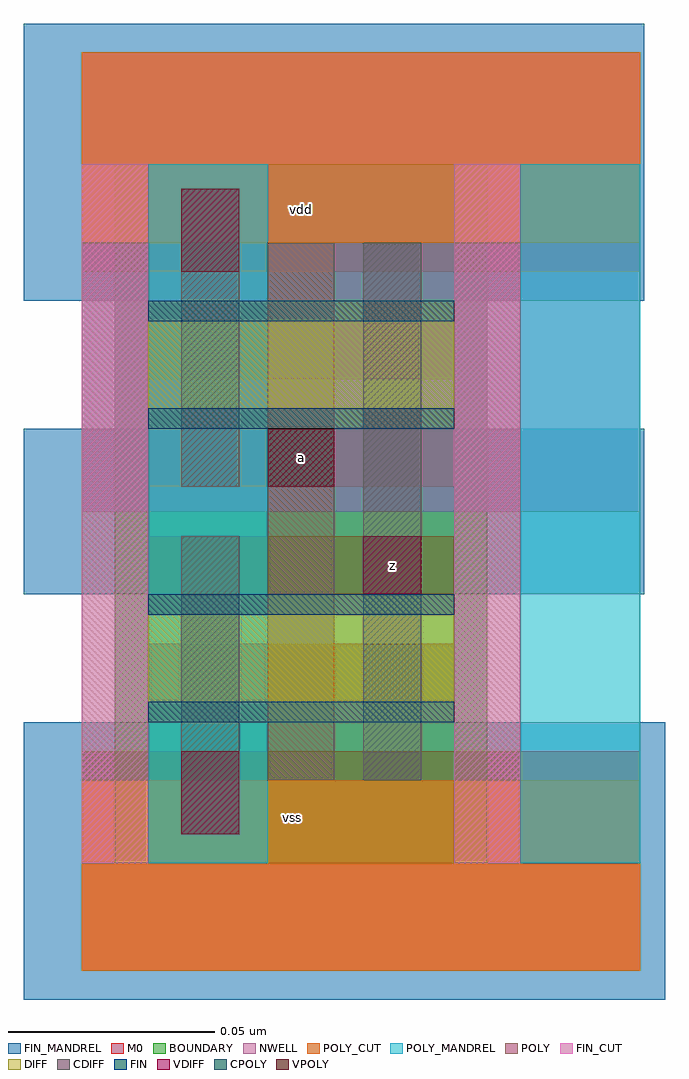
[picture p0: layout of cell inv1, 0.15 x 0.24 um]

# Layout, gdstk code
import gdstk
lib = gdstk.Library(unit=1e-6, precision=1e-09)
def R(c, l, rs):  # rectangles x0, y0, x1, y1
    for r in rs: c.add(gdstk.rectangle(r[:2], r[2:], *l))
def A(c, l, x, y, w, h, nx, ny, dx, dy):  # array of equal rectangles
    R(c, l, [(x+i*dx, y+j*dy, x+i*dx+w, y+j*dy+h) for i in range(nx) for j in range(ny)])
BOUNDARY = (1, 0)
NWELL = (5, 1)
DIFF = (7, 7)
FIN = (7, 8)
FIN_MANDREL = (7, 10)
FIN_CUT = (7, 50)
POLY = (9, 7)
POLY_MANDREL = (9, 10)
POLY_CUT = (9, 50)
CPOLY = (9, 100)
VPOLY = (9, 135)
VDIFF = (10, 0)
CDIFF = (10, 1)
M0 = (30, 0)

inv1 = lib.new_cell('inv1')
R(inv1, BOUNDARY, [(-0.008,0,0.082,0.169)])
R(inv1, NWELL, [(-0.016,0.085,0.119,0.196)])
R(inv1, DIFF, [(0,0.034,0.074,0.065), (0,0.105,0.074,0.136)])
R(inv1, FIN, [(0,0.034,0.074,0.039), (0,0.06,0.074,0.065), (0,0.105,0.074,0.11), (0,0.131,0.074,0.136)])
R(inv1, FIN_MANDREL, [(-0.03,-0.033,0.125,0.034), (-0.03,0.065,0.12,0.105), (-0.03,0.136,0.12,0.203)])
R(inv1, FIN_CUT, [(-0.016,0,0,0.169), (0.074,0,0.09,0.169)])
A(inv1, POLY, -0.016, 0.02, 0.016, 0.13, 3, 1, 0.045, 0)
R(inv1, POLY_MANDREL, [(0,0,0.029,0.169), (0.09,0,0.119,0.169)])
R(inv1, POLY_CUT, [(-0.016,-0.026,0.119,0.02), (-0.016,0.15,0.119,0.196)])
R(inv1, CPOLY, [(0.029,0.091,0.045,0.105)])
R(inv1, VPOLY, [(0.029,0.091,0.045,0.105)])
R(inv1, VDIFF, [(0.008,0.007,0.022,0.027), (0.052,0.065,0.066,0.079), (0.008,0.143,0.022,0.163)])
R(inv1, CDIFF, [(0.008,0.007,0.022,0.079), (0.052,0.02,0.066,0.15), (0.008,0.091,0.022,0.163)])
A(inv1, M0, 0, 0.039, 0.074, 0.014, 1, 4, 0, 0.026)
R(inv1, M0, [(-0.016,-0.026,0.119,0.027), (-0.016,0.143,0.119,0.196)])
inv1.add(gdstk.Label('vss', (0.035,0.011), layer=30, texttype=12))
inv1.add(gdstk.Label('a', (0.037,0.098), layer=30, texttype=12))
inv1.add(gdstk.Label('z', (0.059,0.072), layer=30, texttype=12))
inv1.add(gdstk.Label('vdd', (0.037,0.158), layer=30, texttype=12))

lib.write_gds('inv1.gds')
